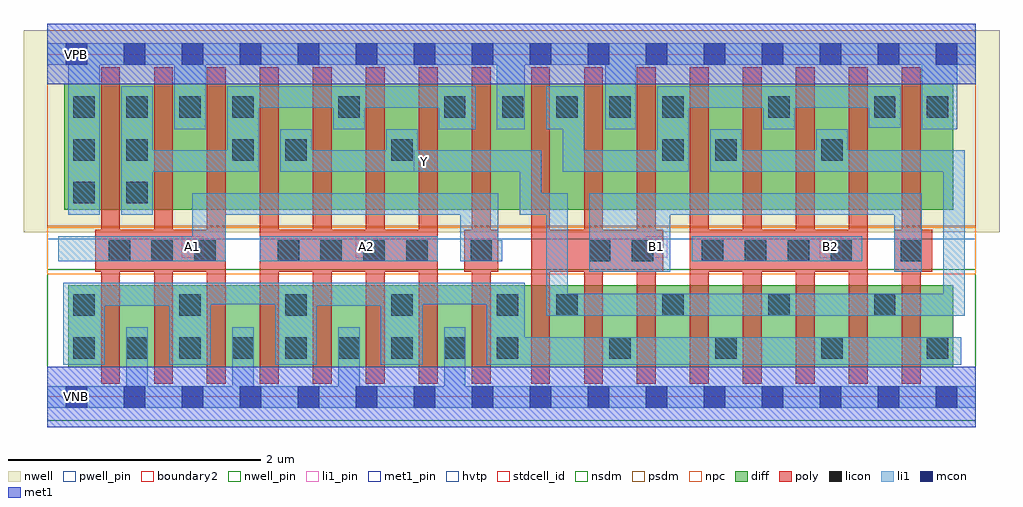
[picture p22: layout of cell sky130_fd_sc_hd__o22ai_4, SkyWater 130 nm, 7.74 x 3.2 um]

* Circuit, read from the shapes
.subckt sky130_fd_sc_hd__o22ai_4 A1 A2 B1 B2 VGND VNB VPB VPWR Y
XM1 VGND A1 n1 VNB sky130_fd_pr__nfet_01v8 w=0.65 l=0.15 m=4
XM2 n1 A2 VGND VNB sky130_fd_pr__nfet_01v8 w=0.65 l=0.15 m=4
XM3 Y B1 n1 VNB sky130_fd_pr__nfet_01v8 w=0.65 l=0.15 m=4
XM4 n1 B2 Y VNB sky130_fd_pr__nfet_01v8 w=0.65 l=0.15 m=4
XM5 n2 A1 VPWR VPB sky130_fd_pr__pfet_01v8_hvt w=1 l=0.15 m=4
XM6 Y A2 n2 VPB sky130_fd_pr__pfet_01v8_hvt w=1 l=0.15 m=4
XM7 n3 B1 VPWR VPB sky130_fd_pr__pfet_01v8_hvt w=1 l=0.15 m=4
XM8 Y B2 n3 VPB sky130_fd_pr__pfet_01v8_hvt w=1 l=0.15 m=4
.ends

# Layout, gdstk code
import gdstk
lib = gdstk.Library(unit=1e-6, precision=1e-09)
def R(c, l, rs):  # rectangles x0, y0, x1, y1
    for r in rs: c.add(gdstk.rectangle(r[:2], r[2:], *l))
def A(c, l, x, y, w, h, nx, ny, dx, dy):  # array of equal rectangles
    R(c, l, [(x+i*dx, y+j*dy, x+i*dx+w, y+j*dy+h) for i in range(nx) for j in range(ny)])
def P(c, l, *ps):  # polygons
    for p in ps: c.add(gdstk.Polygon(p, *l))
nwell_pin = (64, 16)
nwell = (64, 20)
diff = (65, 20)
poly = (66, 20)
licon = (66, 44)
li1_pin = (67, 16)
li1 = (67, 20)
mcon = (67, 44)
met1_pin = (68, 16)
met1 = (68, 20)
hvtp = (78, 44)
stdcell_id = (81, 4)
nsdm = (93, 44)
psdm = (94, 20)
npc = (95, 20)
pwell_pin = (122, 16)
boundary2 = (236, 0)

sky130_fd_sc_hd__o22ai_4 = lib.new_cell('sky130_fd_sc_hd__o22ai_4')
R(sky130_fd_sc_hd__o22ai_4, nwell_pin, [(0.145,2.635,0.315,2.805)])
R(sky130_fd_sc_hd__o22ai_4, nwell, [(-0.19,1.305,7.55,2.91)])
R(sky130_fd_sc_hd__o22ai_4, diff, [(0.165,0.235,7.185,0.885), (0.135,1.485,7.185,2.485)])
P(sky130_fd_sc_hd__o22ai_4, poly, [(1.415,2.615),(1.265,2.615),(1.265,1.325),(0.995,1.325),(0.995,2.615),(0.845,2.615),(0.845,1.325),(0.575,1.325),(0.575,2.615),(0.425,2.615),(0.425,1.325),(0.38,1.325),(0.38,0.995),(0.425,0.995),(0.425,0.105),(0.575,0.105),(0.575,0.995),(0.845,0.995),(0.845,0.105),(0.995,0.105),(0.995,0.995),(1.265,0.995),(1.265,0.105),(1.415,0.105)],
  [(3.095,2.615),(2.945,2.615),(2.945,1.325),(2.675,1.325),(2.675,2.615),(2.525,2.615),(2.525,1.325),(2.255,1.325),(2.255,2.615),(2.105,2.615),(2.105,1.325),(1.835,1.325),(1.835,2.615),(1.685,2.615),(1.685,0.105),(1.835,0.105),(1.835,0.995),(2.105,0.995),(2.105,0.105),(2.255,0.105),(2.255,0.995),(2.525,0.995),(2.525,0.105),(2.675,0.105),(2.675,0.995),(2.945,0.995),(2.945,0.105),(3.095,0.105)],
  [(3.575,1.325),(3.515,1.325),(3.515,2.615),(3.365,2.615),(3.365,1.325),(3.305,1.325),(3.305,0.995),(3.365,0.995),(3.365,0.105),(3.515,0.105),(3.515,0.995),(3.575,0.995)],
  [(4.885,1.325),(4.825,1.325),(4.825,2.615),(4.675,2.615),(4.675,1.325),(4.405,1.325),(4.405,2.615),(4.255,2.615),(4.255,1.325),(3.985,1.325),(3.985,2.615),(3.835,2.615),(3.835,0.105),(3.985,0.105),(3.985,0.995),(4.255,0.995),(4.255,0.105),(4.405,0.105),(4.405,0.995),(4.675,0.995),(4.675,0.105),(4.825,0.105),(4.825,0.995),(4.885,0.995)],
  [(6.505,2.615),(6.355,2.615),(6.355,1.325),(6.085,1.325),(6.085,2.615),(5.935,2.615),(5.935,1.325),(5.665,1.325),(5.665,2.615),(5.515,2.615),(5.515,1.325),(5.245,1.325),(5.245,2.615),(5.095,2.615),(5.095,0.105),(5.245,0.105),(5.245,0.995),(5.515,0.995),(5.515,0.105),(5.665,0.105),(5.665,0.995),(5.935,0.995),(5.935,0.105),(6.085,0.105),(6.085,0.995),(6.355,0.995),(6.355,0.105),(6.505,0.105)],
  [(7.015,1.325),(6.925,1.325),(6.925,2.615),(6.775,2.615),(6.775,1.325),(6.715,1.325),(6.715,0.995),(6.775,0.995),(6.775,0.105),(6.925,0.105),(6.925,0.995),(7.015,0.995)])
A(sky130_fd_sc_hd__o22ai_4, licon, 0.205, 0.305, 0.17, 0.17, 9, 1, 0.42, 0)
A(sky130_fd_sc_hd__o22ai_4, licon, 4.455, 0.305, 0.17, 0.17, 4, 1, 0.84, 0)
A(sky130_fd_sc_hd__o22ai_4, licon, 0.205, 0.645, 0.17, 0.17, 5, 1, 0.84, 0)
A(sky130_fd_sc_hd__o22ai_4, licon, 4.035, 0.645, 0.17, 0.17, 4, 1, 0.84, 0)
A(sky130_fd_sc_hd__o22ai_4, licon, 0.485, 1.075, 0.17, 0.17, 3, 1, 0.34, 0)
A(sky130_fd_sc_hd__o22ai_4, licon, 1.825, 1.075, 0.17, 0.17, 4, 1, 0.34, 0)
A(sky130_fd_sc_hd__o22ai_4, licon, 5.19, 1.075, 0.17, 0.17, 4, 1, 0.34, 0)
A(sky130_fd_sc_hd__o22ai_4, licon, 0.205, 2.215, 0.17, 0.17, 4, 1, 0.42, 0)
A(sky130_fd_sc_hd__o22ai_4, licon, 4.035, 2.215, 0.17, 0.17, 3, 1, 0.42, 0)
R(sky130_fd_sc_hd__o22ai_4, licon, [(3.355,1.075,3.525,1.245), (4.295,1.075,4.465,1.245), (4.635,1.075,4.805,1.245), (6.765,1.075,6.935,1.245), (0.205,1.535,0.375,1.705), (0.625,1.535,0.795,1.705), (0.205,1.875,0.375,2.045), (0.625,1.875,0.795,2.045), (1.465,1.875,1.635,2.045), (1.885,1.875,2.055,2.045), (2.725,1.875,2.895,2.045), (4.875,1.875,5.045,2.045), (5.295,1.875,5.465,2.045), (6.135,1.875,6.305,2.045), (2.305,2.215,2.475,2.385), (3.145,2.215,3.315,2.385), (3.605,2.215,3.775,2.385), (5.715,2.215,5.885,2.385), (6.555,2.215,6.725,2.385), (6.975,2.215,7.145,2.385)])
R(sky130_fd_sc_hd__o22ai_4, li1_pin, [(1.065,1.105,1.235,1.275), (2.445,1.105,2.615,1.275), (4.745,1.105,4.915,1.275), (6.125,1.105,6.295,1.275), (2.905,1.785,3.075,1.955)])
R(sky130_fd_sc_hd__o22ai_4, li1, [(1.685,1.075,3.095,1.275), (5.11,1.075,6.46,1.275)])
P(sky130_fd_sc_hd__o22ai_4, li1, [(7.36,0.085),(3.315,0.085),(3.315,0.555),(3.145,0.555),(3.145,0.085),(2.475,0.085),(2.475,0.555),(2.305,0.555),(2.305,0.085),(1.635,0.085),(1.635,0.555),(1.465,0.555),(1.465,0.085),(0.795,0.085),(0.795,0.555),(0.625,0.555),(0.625,0.085),(0,0.085),(0,-0.085),(7.36,-0.085)],
  [(7.36,2.805),(0,2.805),(0,2.635),(0.165,2.635),(0.165,1.445),(0.415,1.445),(0.415,2.635),(1.005,2.635),(1.005,2.125),(1.255,2.125),(1.255,2.635),(3.565,2.635),(3.565,2.125),(3.785,2.125),(3.785,2.635),(4.425,2.635),(4.425,2.125),(4.665,2.125),(4.665,2.635),(6.935,2.635),(6.935,2.125),(7.215,2.125),(7.215,2.635),(7.36,2.635)],
  [(3.395,2.465),(1.425,2.465),(1.425,1.955),(0.835,1.955),(0.835,2.465),(0.585,2.465),(0.585,1.445),(0.835,1.445),(0.835,1.785),(1.675,1.785),(1.675,2.295),(2.265,2.295),(2.265,2.125),(2.515,2.125),(2.515,2.295),(3.105,2.295),(3.105,2.125),(3.395,2.125)],
  [(3.605,1.245),(3.575,1.245),(3.575,1.615),(1.15,1.615),(1.15,1.275),(0.085,1.275),(0.085,1.075),(1.415,1.075),(1.415,1.445),(3.275,1.445),(3.275,1.075),(3.605,1.075)],
  [(6.765,2.465),(4.835,2.465),(4.835,1.955),(4.255,1.955),(4.255,2.465),(3.955,2.465),(3.955,2.125),(4.085,2.125),(4.085,1.785),(5.085,1.785),(5.085,2.295),(5.675,2.295),(5.675,2.125),(5.925,2.125),(5.925,2.295),(6.515,2.295),(6.515,2.135),(6.765,2.135)],
  [(6.935,1.615),(4.295,1.615),(4.295,0.995),(4.94,0.995),(4.94,1.445),(6.715,1.445),(6.715,0.995),(6.935,0.995)],
  [(7.245,0.475),(3.785,0.475),(3.785,0.905),(0.125,0.905),(0.125,0.255),(0.455,0.255),(0.455,0.725),(0.965,0.725),(0.965,0.255),(1.295,0.255),(1.295,0.735),(1.805,0.735),(1.805,0.255),(2.135,0.255),(2.135,0.725),(2.645,0.725),(2.645,0.255),(2.975,0.255),(2.975,0.735),(3.485,0.735),(3.485,0.255),(7.245,0.255)],
  [(7.275,1.955),(6.345,1.955),(6.345,2.125),(6.095,2.125),(6.095,1.955),(5.505,1.955),(5.505,2.125),(5.255,2.125),(5.255,1.785),(7.105,1.785),(7.105,0.82),(4.125,0.82),(4.125,1.615),(3.915,1.615),(3.915,1.955),(2.935,1.955),(2.935,2.125),(2.685,2.125),(2.685,1.955),(2.095,1.955),(2.095,2.125),(1.845,2.125),(1.845,1.785),(3.745,1.785),(3.745,1.445),(3.955,1.445),(3.955,0.645),(7.275,0.645)])
A(sky130_fd_sc_hd__o22ai_4, mcon, 0.145, -0.085, 0.17, 0.17, 16, 2, 0.46, 2.72)
R(sky130_fd_sc_hd__o22ai_4, met1_pin, [(0.145,-0.085,0.315,0.085), (0.145,2.635,0.315,2.805)])
R(sky130_fd_sc_hd__o22ai_4, hvtp, [(0,1.25,7.36,2.72)])
R(sky130_fd_sc_hd__o22ai_4, stdcell_id, [(0,0,7.36,2.72)])
R(sky130_fd_sc_hd__o22ai_4, nsdm, [(0,-0.19,7.36,1.015)])
R(sky130_fd_sc_hd__o22ai_4, psdm, [(0,1.355,7.36,2.91)])
R(sky130_fd_sc_hd__o22ai_4, npc, [(0,0.975,7.36,1.345)])
R(sky130_fd_sc_hd__o22ai_4, pwell_pin, [(0.145,-0.085,0.315,0.085)])
R(sky130_fd_sc_hd__o22ai_4, boundary2, [(0,0,7.36,2.72)])
sky130_fd_sc_hd__o22ai_4.add(gdstk.FlexPath([(0,2.72),(7.36,2.72)], 0.48, ends="flush", simple_path=True, layer=68, datatype=20))  # met1
sky130_fd_sc_hd__o22ai_4.add(gdstk.FlexPath([(0,0),(7.36,0)], 0.48, ends="flush", simple_path=True, layer=68, datatype=20))  # met1
sky130_fd_sc_hd__o22ai_4.add(gdstk.Label('A1', (1.15,1.19), layer=67, texttype=5))
sky130_fd_sc_hd__o22ai_4.add(gdstk.Label('Y', (2.99,1.87), layer=67, texttype=5))
sky130_fd_sc_hd__o22ai_4.add(gdstk.Label('A2', (2.53,1.19), layer=67, texttype=5))
sky130_fd_sc_hd__o22ai_4.add(gdstk.Label('B1', (4.83,1.19), layer=67, texttype=5))
sky130_fd_sc_hd__o22ai_4.add(gdstk.Label('B2', (6.21,1.19), layer=67, texttype=5))
sky130_fd_sc_hd__o22ai_4.add(gdstk.Label('VNB', (0.23,0), layer=64, texttype=59))
sky130_fd_sc_hd__o22ai_4.add(gdstk.Label('VPB', (0.23,2.72), layer=64, texttype=5))
sky130_fd_sc_hd__o22ai_4.add(gdstk.Label('VGND', (0.23,0), layer=68, texttype=5))
sky130_fd_sc_hd__o22ai_4.add(gdstk.Label('VPWR', (0.23,2.72), layer=68, texttype=5))
sky130_fd_sc_hd__o22ai_4.add(gdstk.Label('o22ai_4', (0,0), layer=83, texttype=44))

lib.write_gds('sky130_fd_sc_hd__o22ai_4.gds')
